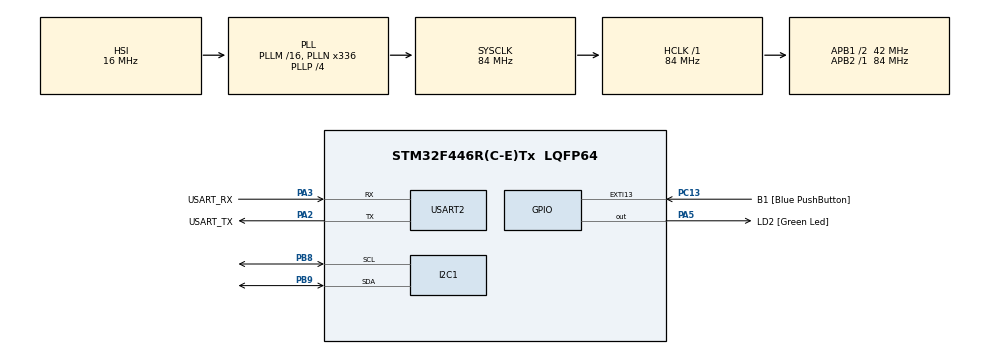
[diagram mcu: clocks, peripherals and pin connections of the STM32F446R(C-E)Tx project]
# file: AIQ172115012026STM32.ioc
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Mcu.Family=STM32F4
Mcu.Name=STM32F446R(C-E)Tx
Mcu.Package=LQFP64
NVIC.PriorityGroup=NVIC_PRIORITYGROUP_0
PA13.GPIO_Label=TMS
PA13.Mode=Serial_Wire
PA13.Signal=SYS_JTMS-SWDIO
PA14.GPIO_Label=TCK
PA14.Mode=Serial_Wire
PA14.Signal=SYS_JTCK-SWCLK
PA2.GPIO_Label=USART_TX
PA2.Mode=Asynchronous
PA2.Signal=USART2_TX
PA3.GPIO_Label=USART_RX
PA3.Mode=Asynchronous
PA3.Signal=USART2_RX
PA5.GPIO_Label=LD2 [Green Led]
PA5.Signal=GPIO_Output
PB3.GPIO_Label=SWO
PB3.Signal=SYS_JTDO-SWO
PB8.Mode=I2C
PB8.Signal=I2C1_SCL
PB9.Mode=I2C
PB9.Signal=I2C1_SDA
PC13.GPIO_Label=B1 [Blue PushButton]
PC13.GPIO_ModeDefaultEXTI=GPIO_MODE_IT_FALLING
PC13.Signal=GPXTI13
PC14-OSC32_IN.Mode=LSE-External-Oscillator
PC14-OSC32_IN.Signal=RCC_OSC32_IN
PC15-OSC32_OUT.Mode=LSE-External-Oscillator
PC15-OSC32_OUT.Signal=RCC_OSC32_OUT
PH0-OSC_IN.Mode=HSE-External-Oscillator
PH0-OSC_IN.Signal=RCC_OSC_IN
PH1-OSC_OUT.Mode=HSE-External-Oscillator
PH1-OSC_OUT.Signal=RCC_OSC_OUT
ProjectManager.HeapSize=0x200
ProjectManager.StackSize=0x400
ProjectManager.TargetToolchain=STM32CubeIDE
RCC.48MHZClocksFreq_Value=84000000
RCC.AHBFreq_Value=84000000
RCC.APB1CLKDivider=RCC_HCLK_DIV2
RCC.APB1Freq_Value=42000000
RCC.APB1TimFreq_Value=84000000
RCC.APB2Freq_Value=84000000
RCC.APB2TimFreq_Value=84000000
RCC.CortexFreq_Value=84000000
RCC.FLatency-AdvancedSettings=FLASH_LATENCY_2
RCC.HCLKFreq_Value=84000000
RCC.HSE_VALUE=8000000
RCC.HSI_VALUE=16000000
RCC.PLLN=336
RCC.PLLP=RCC_PLLP_DIV4
RCC.SYSCLKFreq_VALUE=84000000
RCC.SYSCLKSource=RCC_SYSCLKSOURCE_PLLCLK
RCC.USBFreq_Value=168000000
RCC.VCOOutputFreq_Value=336000000
USART2.VirtualMode=VM_ASYNC
board=NUCLEO-F446RE

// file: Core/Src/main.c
/* USER CODE BEGIN Header */
/**
  ******************************************************************************
  * @file           : main.c
  * @brief          : Main program body
  ******************************************************************************
  * @attention
  *
  * Copyright (c) 2026 STMicroelectronics.
  * All rights reserved.
  *
  * This software is licensed under terms that can be found in the LICENSE file
  * in the root directory of this software component.
  * If no LICENSE file comes with this software, it is provided AS-IS.
  *
  ******************************************************************************
  */
/* USER CODE END Header */
#include "main.h"
#include <stdio.h>
#include <string.h>
#include <stdarg.h>
#include <stdint.h>
#include <math.h>

/* USER CODE BEGIN PD */
#define SHT41_ADDR 0x44  // 7-bit address
#define SGP40_ADDR 0x59  // 7-bit address

// SHT41 Commands
#define SHT41_MEAS_HIGH_PRECISION 0xFD
#define SHT41_SOFT_RESET 0x94

// SGP40 Commands (from Sensirion driver)
#define SGP40_CMD_MEASURE_RAW_SIGNAL 0x260F
#define SGP40_CMD_MEASURE_TEST 0x280E
#define SGP40_CMD_TURN_HEATER_OFF 0x3615
#define SGP40_CMD_SOFT_RESET 0x0006
#define SGP40_CMD_GET_SERIAL 0x3682

// SGP40 default parameters (from datasheet)
#define SGP40_DEFAULT_HUMIDITY 50.0f  // 50% RH
#define SGP40_DEFAULT_TEMPERATURE 25.0f  // 25°C
#define SGP40_WARMUP_TIME_MS 10000  // 10 seconds warmup
/* USER CODE END PD */

I2C_HandleTypeDef hi2c1;
UART_HandleTypeDef huart2;

/* USER CODE BEGIN PV */
// Print functions
void print_string(const char *str) {
    HAL_UART_Transmit(&huart2, (uint8_t*)str, strlen(str), HAL_MAX_DELAY);
}

void print_int(int value) {
    char buffer[12];
    sprintf(buffer, "%d", value);
    print_string(buffer);
}

void print_float(float value) {
    int integer = (int)value;
    int decimal = (int)(fabs(value - integer) * 100);
    char buffer[20];
    sprintf(buffer, "%d.%02d", integer, decimal);
    print_string(buffer);
}

void print_hex(uint32_t value, int digits) {
    char buffer[10];
    int i;
    for (i = digits - 1; i >= 0; i--) {
        uint8_t nibble = value & 0xF;
        buffer[i] = nibble < 10 ? '0' + nibble : 'A' + (nibble - 10);
        value >>= 4;
    }
    buffer[digits] = '\0';
    print_string(buffer);
}

// Sensirion CRC8 function (from official driver)
static uint8_t sensirion_crc8(const uint8_t *data, uint16_t count) {
    uint16_t current_byte;
    uint8_t crc = 0xFF;
    uint8_t crc_bit;

    for (current_byte = 0; current_byte < count; ++current_byte) {
        crc ^= data[current_byte];
        for (crc_bit = 8; crc_bit > 0; --crc_bit) {
            if (crc & 0x80) {
                crc = (crc << 1) ^ 0x31;
            } else {
                crc = (crc << 1);
            }
        }
    }
    return crc;
}

// SGP40 state
typedef struct {
    uint8_t initialized;
    uint32_t last_measurement_time;
    uint16_t serial[3];
} sgp40_state_t;

sgp40_state_t sgp40_state = {0};
/* USER CODE END PV */

void SystemClock_Config(void);
static void MX_GPIO_Init(void);
static void MX_USART2_UART_Init(void);
static void MX_I2C1_Init(void);
/* USER CODE BEGIN PFP */

// Sensor functions
HAL_StatusTypeDef SHT41_Read(float *temperature, float *humidity);
HAL_StatusTypeDef SGP40_Init(void);
HAL_StatusTypeDef SGP40_MeasureRaw(float temperature, float humidity, uint16_t *raw_signal);
void I2C_Scan(void);

/* USER CODE END PFP */

/* USER CODE BEGIN 0 */
// I2C Scan function
void I2C_Scan(void) {
    uint8_t devices = 0;
    print_string("Scanning I2C bus...\r\n");
    for (uint8_t addr = 1; addr < 127; addr++) {
        HAL_StatusTypeDef status = HAL_I2C_IsDeviceReady(&hi2c1, addr << 1, 1, 10);
        if (status == HAL_OK) {
            print_string("  Found device at: 0x");
            print_hex(addr, 2);
            print_string("\r\n");
            devices++;
        }
    }
    if (devices == 0) {
        print_string("  No I2C devices found!\r\n");
    }
}
/* USER CODE END 0 */

int main(void)
{

  /* MCU Configuration--------------------------------------------------------*/

  HAL_Init();
  SystemClock_Config();
  MX_GPIO_Init();
  MX_USART2_UART_Init();
  MX_I2C1_Init();

  /* USER CODE BEGIN 2 */

  float temperature = 0, humidity = 0;
  uint16_t sgp40_raw = 0;

  // Initialize LED
  HAL_GPIO_WritePin(LD2_GPIO_Port, LD2_Pin, GPIO_PIN_SET);
  HAL_Delay(200);
  HAL_GPIO_WritePin(LD2_GPIO_Port, LD2_Pin, GPIO_PIN_RESET);

  print_string("\r\n\r\n");
  print_string("==========================================\r\n");
  print_string("SHT41 + SGP40 Sensor System\r\n");
  print_string("==========================================\r\n\r\n");

  // I2C Scan
  I2C_Scan();

  // Warm-up period for SGP40
  print_string("\r\nWarming up SGP40 (10 seconds)...\r\n");
  for (int i = 0; i < 10; i++) {
      HAL_GPIO_TogglePin(LD2_GPIO_Port, LD2_Pin);
      print_string(".");
      HAL_Delay(1000);
  }
  print_string("\r\n\r\n");

  // Initialize SGP40
  if (SGP40_Init() != HAL_OK) {
      print_string("WARNING: SGP40 initialization had issues!\r\n");
      print_string("Will try to use it anyway...\r\n");
      // Force initialization flag to try using it
      sgp40_state.initialized = 1;
  }

  print_string("\r\n");
  print_string("Starting Continuous Measurements:\r\n");
  print_string("=================================\r\n\r\n");

  uint32_t measurement_count = 0;
  uint32_t sgp40_success_count = 0;
  uint32_t sgp40_error_count = 0;

  /* USER CODE END 2 */

  /* Infinite loop */
  /* USER CODE BEGIN WHILE */
  while (1)
  {
      measurement_count++;

      // Toggle LED
      HAL_GPIO_TogglePin(LD2_GPIO_Port, LD2_Pin);

      // Read SHT41
      if (SHT41_Read(&temperature, &humidity) == HAL_OK) {
          print_string("[");
          print_int(measurement_count);
          print_string("] SHT41: ");
          print_float(temperature);
          print_string("°C, ");
          print_float(humidity);
          print_string("% RH\r\n");
      } else {
          print_string("[");
          print_int(measurement_count);
          print_string("] SHT41: ERROR\r\n");
          temperature = SGP40_DEFAULT_TEMPERATURE;
          humidity = SGP40_DEFAULT_HUMIDITY;
      }

      // Read SGP40 with SHT41 compensation
      if (sgp40_state.initialized) {
          if (SGP40_MeasureRaw(temperature, humidity, &sgp40_raw) == HAL_OK) {
              sgp40_success_count++;

              print_string("[");
              print_int(measurement_count);
              print_string("] SGP40: Raw=");
              print_int(sgp40_raw);

              // Convert raw signal to VOC index (simplified)
              if (sgp40_raw > 10000) {
                  float voc_index = (sgp40_raw - 20000) / 100.0f;
                  if (voc_index < 0) voc_index = 0;

                  print_string(" (VOC Index≈");
                  print_float(voc_index);
                  print_string(")");
              }

              print_string(" [OK:");
              print_int(sgp40_success_count);
              print_string("]\r\n");

              sgp40_error_count = 0;
          } else {
              sgp40_error_count++;
              print_string("[");
              print_int(measurement_count);
              print_string("] SGP40: ERROR [");
              print_int(sgp40_error_count);
              print_string("]\r\n");

              // Re-initialize after too many errors
              if (sgp40_error_count > 10) {
                  print_string("Re-initializing SGP40...\r\n");
                  SGP40_Init();
                  sgp40_error_count = 0;
              }
          }
      } else {
          // Try to initialize if not already
          if (measurement_count % 20 == 0) {
              SGP40_Init();
          }
          print_string("[");
          print_int(measurement_count);
          print_string("] SGP40: Not initialized\r\n");
      }

      print_string("-----\r\n\r\n");

      HAL_Delay(2000);  // 2 second measurement interval
    /* USER CODE END WHILE */

  }
}

void SystemClock_Config(void)
{
  RCC_OscInitTypeDef RCC_OscInitStruct = {0};
  RCC_ClkInitTypeDef RCC_ClkInitStruct = {0};

  __HAL_RCC_PWR_CLK_ENABLE();
  __HAL_PWR_VOLTAGESCALING_CONFIG(PWR_REGULATOR_VOLTAGE_SCALE3);

  RCC_OscInitStruct.OscillatorType = RCC_OSCILLATORTYPE_HSI;
  RCC_OscInitStruct.HSIState = RCC_HSI_ON;
  RCC_OscInitStruct.HSICalibrationValue = RCC_HSICALIBRATION_DEFAULT;
  RCC_OscInitStruct.PLL.PLLState = RCC_PLL_ON;
  RCC_OscInitStruct.PLL.PLLSource = RCC_PLLSOURCE_HSI;
  RCC_OscInitStruct.PLL.PLLM = 16;
  RCC_OscInitStruct.PLL.PLLN = 336;
  RCC_OscInitStruct.PLL.PLLP = RCC_PLLP_DIV4;
  RCC_OscInitStruct.PLL.PLLQ = 2;
  RCC_OscInitStruct.PLL.PLLR = 2;
  if (HAL_RCC_OscConfig(&RCC_OscInitStruct) != HAL_OK)
  {
    Error_Handler();
  }

  RCC_ClkInitStruct.ClockType = RCC_CLOCKTYPE_HCLK|RCC_CLOCKTYPE_SYSCLK
                              |RCC_CLOCKTYPE_PCLK1|RCC_CLOCKTYPE_PCLK2;
  RCC_ClkInitStruct.SYSCLKSource = RCC_SYSCLKSOURCE_PLLCLK;
  RCC_ClkInitStruct.AHBCLKDivider = RCC_SYSCLK_DIV1;
  RCC_ClkInitStruct.APB1CLKDivider = RCC_HCLK_DIV2;
  RCC_ClkInitStruct.APB2CLKDivider = RCC_HCLK_DIV1;

  if (HAL_RCC_ClockConfig(&RCC_ClkInitStruct, FLASH_LATENCY_2) != HAL_OK)
  {
    Error_Handler();
  }
}

static void MX_I2C1_Init(void)
{

  hi2c1.Instance = I2C1;
  hi2c1.Init.ClockSpeed = 100000;
  hi2c1.Init.DutyCycle = I2C_DUTYCYCLE_2;
  hi2c1.Init.OwnAddress1 = 0;
  hi2c1.Init.AddressingMode = I2C_ADDRESSINGMODE_7BIT;
  hi2c1.Init.DualAddressMode = I2C_DUALADDRESS_DISABLE;
  hi2c1.Init.OwnAddress2 = 0;
  hi2c1.Init.GeneralCallMode = I2C_GENERALCALL_DISABLE;
  hi2c1.Init.NoStretchMode = I2C_NOSTRETCH_DISABLE;
  if (HAL_I2C_Init(&hi2c1) != HAL_OK)
  {
    Error_Handler();
  }
}

static void MX_USART2_UART_Init(void)
{

  huart2.Instance = USART2;
  huart2.Init.BaudRate = 115200;
  huart2.Init.WordLength = UART_WORDLENGTH_8B;
  huart2.Init.StopBits = UART_STOPBITS_1;
  huart2.Init.Parity = UART_PARITY_NONE;
  huart2.Init.Mode = UART_MODE_TX_RX;
  huart2.Init.HwFlowCtl = UART_HWCONTROL_NONE;
  huart2.Init.OverSampling = UART_OVERSAMPLING_16;
  if (HAL_UART_Init(&huart2) != HAL_OK)
  {
    Error_Handler();
  }
}

static void MX_GPIO_Init(void)
{
  GPIO_InitTypeDef GPIO_InitStruct = {0};

  __HAL_RCC_GPIOC_CLK_ENABLE();
  __HAL_RCC_GPIOH_CLK_ENABLE();
  __HAL_RCC_GPIOA_CLK_ENABLE();
  __HAL_RCC_GPIOB_CLK_ENABLE();

  HAL_GPIO_WritePin(LD2_GPIO_Port, LD2_Pin, GPIO_PIN_RESET);

  GPIO_InitStruct.Pin = B1_Pin;
  GPIO_InitStruct.Mode = GPIO_MODE_IT_FALLING;
  GPIO_InitStruct.Pull = GPIO_NOPULL;
  HAL_GPIO_Init(B1_GPIO_Port, &GPIO_InitStruct);

  GPIO_InitStruct.Pin = LD2_Pin;
  GPIO_InitStruct.Mode = GPIO_MODE_OUTPUT_PP;
  GPIO_InitStruct.Pull = GPIO_NOPULL;
  GPIO_InitStruct.Speed = GPIO_SPEED_FREQ_LOW;
  HAL_GPIO_Init(LD2_GPIO_Port, &GPIO_InitStruct);
}

/* USER CODE BEGIN 4 */

// Read SHT41 Temperature and Humidity
HAL_StatusTypeDef SHT41_Read(float *temperature, float *humidity) {
    uint8_t cmd = SHT41_MEAS_HIGH_PRECISION;
    uint8_t data[6];

    if(HAL_I2C_Master_Transmit(&hi2c1, SHT41_ADDR << 1, &cmd, 1, 100) != HAL_OK) {
        return HAL_ERROR;
    }

    HAL_Delay(10);

    if(HAL_I2C_Master_Receive(&hi2c1, SHT41_ADDR << 1, data, 6, 100) != HAL_OK) {
        return HAL_ERROR;
    }

    uint16_t temp_raw = (data[0] << 8) | data[1];
    *temperature = -45.0f + (175.0f * temp_raw) / 65535.0f;

    uint16_t hum_raw = (data[3] << 8) | data[4];
    *humidity = -6.0f + (125.0f * hum_raw) / 65535.0f;

    if(*humidity < 0.0f) *humidity = 0.0f;
    if(*humidity > 100.0f) *humidity = 100.0f;

    return HAL_OK;
}

// Simple SGP40 I2C write
static HAL_StatusTypeDef sgp40_write_cmd(uint16_t command) {
    uint8_t buffer[2];
    buffer[0] = command >> 8;
    buffer[1] = command & 0xFF;

    return HAL_I2C_Master_Transmit(&hi2c1, SGP40_ADDR << 1, buffer, 2, 100);
}

// Simple SGP40 I2C read
static HAL_StatusTypeDef sgp40_read_word(uint16_t *data) {
    uint8_t buffer[3];

    if (HAL_I2C_Master_Receive(&hi2c1, SGP40_ADDR << 1, buffer, 3, 100) != HAL_OK) {
        return HAL_ERROR;
    }

    *data = (buffer[0] << 8) | buffer[1];
    // Ignore CRC for now
    return HAL_OK;
}

// Get SGP40 Serial Number
static HAL_StatusTypeDef SGP40_GetSerial(uint16_t *serial) {
    // Send get serial command
    if (sgp40_write_cmd(SGP40_CMD_GET_SERIAL) != HAL_OK) {
        return HAL_ERROR;
    }

    HAL_Delay(1);

    // Read 3 words (serial number)
    uint8_t buffer[9];
    if (HAL_I2C_Master_Receive(&hi2c1, SGP40_ADDR << 1, buffer, 9, 100) != HAL_OK) {
        return HAL_ERROR;
    }

    // Extract serial numbers
    serial[0] = (buffer[0] << 8) | buffer[1];
    serial[1] = (buffer[3] << 8) | buffer[4];
    serial[2] = (buffer[6] << 8) | buffer[7];

    return HAL_OK;
}

// Simplified Self Test (optional)
static HAL_StatusTypeDef SGP40_SelfTest(uint16_t *result) {
    // Send self-test command
    if (sgp40_write_cmd(SGP40_CMD_MEASURE_TEST) != HAL_OK) {
        return HAL_ERROR;
    }

    HAL_Delay(250);

    // Read result
    if (sgp40_read_word(result) != HAL_OK) {
        return HAL_ERROR;
    }

    return HAL_OK;
}

// SGP40 Measure Raw with Compensation
HAL_StatusTypeDef SGP40_MeasureRaw(float temperature, float humidity, uint16_t *raw_signal) {
    uint8_t buffer[8];
    uint16_t index = 0;

    // Command for raw measurement with compensation
    buffer[index++] = 0x26;  // MSB of command
    buffer[index++] = 0x0F;  // LSB of command

    // Humidity compensation (convert to ticks)
    uint16_t hum_ticks = (uint16_t)((humidity * 65535.0f) / 100.0f);
    buffer[index++] = hum_ticks >> 8;
    buffer[index++] = hum_ticks & 0xFF;
    buffer[index++] = sensirion_crc8(&buffer[2], 2);  // CRC for humidity

    // Temperature compensation (convert to ticks)
    uint16_t temp_ticks = (uint16_t)(((temperature + 45.0f) * 65535.0f) / 175.0f);
    buffer[index++] = temp_ticks >> 8;
    buffer[index++] = temp_ticks & 0xFF;
    buffer[index++] = sensirion_crc8(&buffer[5], 2);  // CRC for temperature

    // Send command with compensation data
    if (HAL_I2C_Master_Transmit(&hi2c1, SGP40_ADDR << 1, buffer, index, 100) != HAL_OK) {
        return HAL_ERROR;
    }

    // Wait for measurement
    HAL_Delay(30);

    // Read raw signal
    return sgp40_read_word(raw_signal);
}

// Initialize SGP40
HAL_StatusTypeDef SGP40_Init(void) {
    uint16_t test_result;
    uint16_t serial[3];

    print_string("Initializing SGP40...\r\n");

    // Wait for power stabilization
    HAL_Delay(100);

    // Try to get serial number first (basic communication test)
    print_string("  Testing basic communication... ");
    if (SGP40_GetSerial(serial) == HAL_OK) {
        print_string("OK\r\n");
        print_string("  Serial: ");
        print_hex(serial[0], 4);
        print_hex(serial[1], 4);
        print_hex(serial[2], 4);
        print_string("\r\n");
    } else {
        print_string("FAILED\r\n");
        print_string("  Check I2C connection and power\r\n");
        return HAL_ERROR;
    }

    // Try self-test (optional)
    print_string("  Running self-test... ");
    uint8_t attempts = 3;
    HAL_StatusTypeDef test_status = HAL_ERROR;

    for (uint8_t i = 0; i < attempts; i++) {
        if (SGP40_SelfTest(&test_result) == HAL_OK) {
            test_status = HAL_OK;
            break;
        }
        HAL_Delay(100);
    }

    if (test_status != HAL_OK) {
        print_string("SKIPPED (I2C error)\r\n");
        print_string("  Continuing without self-test...\r\n");
    } else {
        print_string("Result: 0x");
        print_hex(test_result, 4);

        if (test_result == 0xD400) {
            print_string(" (PASS)\r\n");
        } else {
            print_string(" (Unexpected result)\r\n");
            print_string("  Continuing anyway...\r\n");
        }
    }

    // Mark as initialized
    sgp40_state.initialized = 1;
    sgp40_state.last_measurement_time = HAL_GetTick();

    // Store serial number
    sgp40_state.serial[0] = serial[0];
    sgp40_state.serial[1] = serial[1];
    sgp40_state.serial[2] = serial[2];

    print_string("SGP40 Initialized!\r\n");
    return HAL_OK;
}

/* USER CODE END 4 */

void Error_Handler(void)
{
  __disable_irq();
  while (1)
  {
  }
}
